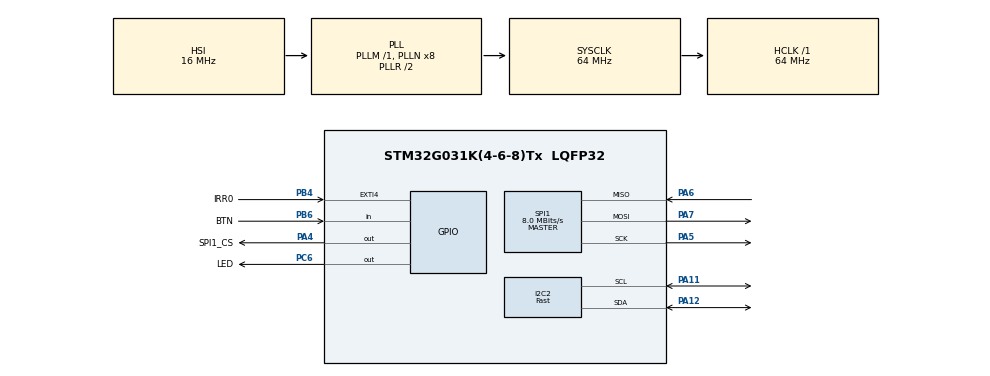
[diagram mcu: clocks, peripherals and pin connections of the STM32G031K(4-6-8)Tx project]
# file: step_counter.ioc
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Dma.I2C2_RX.1.Direction=DMA_PERIPH_TO_MEMORY
Dma.I2C2_RX.1.EventEnable=DISABLE
Dma.I2C2_RX.1.Instance=DMA1_Channel5
Dma.I2C2_RX.1.MemDataAlignment=DMA_MDATAALIGN_BYTE
Dma.I2C2_RX.1.MemInc=DMA_MINC_ENABLE
Dma.I2C2_RX.1.Mode=DMA_NORMAL
Dma.I2C2_RX.1.PeriphDataAlignment=DMA_PDATAALIGN_BYTE
Dma.I2C2_RX.1.PeriphInc=DMA_PINC_DISABLE
Dma.I2C2_RX.1.Polarity=HAL_DMAMUX_REQ_GEN_RISING
Dma.I2C2_RX.1.Priority=DMA_PRIORITY_LOW
Dma.I2C2_RX.1.RequestNumber=1
Dma.I2C2_RX.1.SignalID=NONE
Dma.I2C2_RX.1.SyncEnable=DISABLE
Dma.I2C2_RX.1.SyncPolarity=HAL_DMAMUX_SYNC_NO_EVENT
Dma.I2C2_RX.1.SyncRequestNumber=1
Dma.I2C2_RX.1.SyncSignalID=NONE
Dma.Request0=SPI1_TX
Dma.Request1=I2C2_RX
Dma.SPI1_TX.0.Direction=DMA_MEMORY_TO_PERIPH
Dma.SPI1_TX.0.EventEnable=DISABLE
Dma.SPI1_TX.0.Instance=DMA1_Channel1
Dma.SPI1_TX.0.MemDataAlignment=DMA_MDATAALIGN_BYTE
Dma.SPI1_TX.0.MemInc=DMA_MINC_ENABLE
Dma.SPI1_TX.0.Mode=DMA_NORMAL
Dma.SPI1_TX.0.PeriphDataAlignment=DMA_PDATAALIGN_BYTE
Dma.SPI1_TX.0.PeriphInc=DMA_PINC_DISABLE
Dma.SPI1_TX.0.Polarity=HAL_DMAMUX_REQ_GEN_RISING
Dma.SPI1_TX.0.Priority=DMA_PRIORITY_LOW
Dma.SPI1_TX.0.RequestNumber=1
Dma.SPI1_TX.0.SignalID=NONE
Dma.SPI1_TX.0.SyncEnable=DISABLE
Dma.SPI1_TX.0.SyncPolarity=HAL_DMAMUX_SYNC_NO_EVENT
Dma.SPI1_TX.0.SyncRequestNumber=1
Dma.SPI1_TX.0.SyncSignalID=NONE
FATFS._MAX_SS=512
FATFS._USE_LFN=1
FATFS._USE_TRIM=1
I2C2.I2C_Speed_Mode=I2C_Fast
I2C2.Timing=0x00602173
Mcu.Family=STM32G0
Mcu.Name=STM32G031K(4-6-8)Tx
Mcu.Package=LQFP32
NVIC.DMA1_Ch4_5_DMAMUX1_OVR_IRQn=true\:0\:0\:false\:false\:true\:false\:true\:true
NVIC.DMA1_Channel1_IRQn=true\:0\:0\:false\:false\:true\:false\:true\:true
NVIC.EXTI4_15_IRQn=true\:2\:0\:true\:false\:true\:true\:true\:true
NVIC.TIM14_IRQn=true\:0\:0\:false\:false\:true\:true\:true\:true
PA11\ [PA9].Mode=I2C
PA11\ [PA9].Signal=I2C2_SCL
PA12\ [PA10].Mode=I2C
PA12\ [PA10].Signal=I2C2_SDA
PA4.GPIO_Label=SPI1_CS
PA4.Signal=GPIO_Output
PA5.Mode=Full_Duplex_Master
PA5.Signal=SPI1_SCK
PA6.Mode=Full_Duplex_Master
PA6.Signal=SPI1_MISO
PA7.Mode=Full_Duplex_Master
PA7.Signal=SPI1_MOSI
PB4.GPIO_Label=IRR0
PB4.GPIO_PuPd=GPIO_PULLDOWN
PB4.Signal=GPXTI4
PB6.GPIO_Label=BTN
PB6.GPIO_PuPd=GPIO_PULLUP
PB6.Signal=GPIO_Input
PB8.Signal=I2C1_SCL
PB9.Signal=I2C1_SDA
PC6.GPIO_Label=LED
PC6.Signal=GPIO_Output
ProjectManager.HeapSize=0x200
ProjectManager.StackSize=0x400
ProjectManager.TargetToolchain=STM32CubeIDE
RCC.ADCFreq_Value=64000000
RCC.AHBFreq_Value=64000000
RCC.CortexFreq_Value=64000000
RCC.EXTERNAL_CLOCK_VALUE=12288000
RCC.HCLKFreq_Value=64000000
RCC.HSE_VALUE=8000000
RCC.HSI_VALUE=16000000
RCC.LSE_VALUE=32768
RCC.SYSCLKFreq_VALUE=64000000
RCC.SYSCLKSource=RCC_SYSCLKSOURCE_PLLCLK
RCC.VCOOutputFreq_Value=128000000
SPI1.BaudRatePrescaler=SPI_BAUDRATEPRESCALER_8
SPI1.CalculateBaudRate=8.0 MBits/s
SPI1.Direction=SPI_DIRECTION_2LINES
SPI1.Mode=SPI_MODE_MASTER
SPI1.VirtualType=VM_MASTER
TIM14.Period=3999
TIM14.Prescaler=63
VP_FATFS_VS_Generic.Mode=User_defined
VP_TIM14_VS_ClockSourceINT.Mode=Enable_Timer
board=custom

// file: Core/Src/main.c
/* USER CODE BEGIN Header */
/**
 ******************************************************************************
 * @file           : main.c
 * @brief          : Main program body
 ******************************************************************************
 * @attention
 *
 * Copyright (c) 2023 STMicroelectronics.
 * All rights reserved.
 *
 * This software is licensed under terms that can be found in the LICENSE file
 * in the root directory of this software component.
 * If no LICENSE file comes with this software, it is provided AS-IS.
 *
 ******************************************************************************
 */
/* USER CODE END Header */
#include "main.h"
#include "app_fatfs.h"

/* USER CODE BEGIN Includes */
#include <stdio.h>
#include <stdbool.h>
#include "fatfs_sd.h"
uint16_t address = 0;
FATFS fs;
FRESULT fresult;
UINT br, bw;  // File read/write count
/**** capacity related *****/
FATFS *pfs;
DWORD fre_clust;
uint32_t total, free_space;

#define MAX_FILENAME_LENGTH 20

#define RD_LEN  (8 * 14 * 2 *2)
uint8_t Rec_Data[RD_LEN];  // 512/64 = 8 -> 8*14*2 (half transfer)
volatile uint16_t Rec_Data_Ri = 0;
volatile uint16_t Rec_Data_Ti = 0;

char buffer[512 + 1] = { };  //+1 because of null string termination
uint16_t buffer_i = 0;

volatile uint32_t size = 0;

struct {
	int16_t x;
	int16_t y;
	int16_t z;
} acc;

int16_t temp;
double temp_d;

struct {
	int16_t x;
	int16_t y;
	int16_t z;
} gyro;
/* USER CODE END Includes */

I2C_HandleTypeDef hi2c2;
DMA_HandleTypeDef hdma_i2c2_rx;

SPI_HandleTypeDef hspi1;
DMA_HandleTypeDef hdma_spi1_tx;

TIM_HandleTypeDef htim14;

/* USER CODE BEGIN PV */
I2C_HandleTypeDef * const imu_i2c = &hi2c2;
/* USER CODE END PV */

void SystemClock_Config(void);
static void MX_GPIO_Init(void);
static void MX_DMA_Init(void);
static void MX_SPI1_Init(void);
static void MX_I2C2_Init(void);
static void MX_TIM14_Init(void);

int main(void)
{

  /* MCU Configuration--------------------------------------------------------*/

  /* Reset of all peripherals, Initializes the Flash interface and the Systick. */
  HAL_Init();

  /* Configure the system clock */
  SystemClock_Config();

  /* Initialize all configured peripherals */
  MX_GPIO_Init();
  MX_DMA_Init();
  MX_SPI1_Init();
  if (MX_FATFS_Init() != APP_OK) {
    Error_Handler();
  }
  MX_I2C2_Init();
  MX_TIM14_Init();
  /* USER CODE BEGIN 2 */

	//FATFS
	fresult = f_mount(&fs, "/", 1);
	if (fresult != FR_OK)
		Error_Handler();

	FIL fil;
	/*************** Card capacity details ********************/

	/* Check free space */
	f_getfree("", &fre_clust, &pfs);
	total = (uint32_t) ((pfs->n_fatent - 2) * pfs->csize * 0.5);
	free_space = (uint32_t) (fre_clust * pfs->csize * 0.5);

	char filename[MAX_FILENAME_LENGTH];
	uint16_t file_count = 0;
	FILINFO finfo;
	do {
		sprintf(filename, "/OUT%03d.TXT", file_count);
	} while (f_stat(filename, &finfo) == FR_OK && ++file_count < 1000);

	if (f_open(&fil, filename, FA_OPEN_ALWAYS | FA_WRITE) != FR_OK)
		Error_Handler();

	f_puts("step counter v1.0\n", &fil);
	if (f_close(&fil) != FR_OK)
		Error_Handler();

	if (f_open(&fil, filename, FA_OPEN_APPEND | FA_WRITE) != FR_OK)
		Error_Handler();

	//scan i2c
	while (address == 0) {
		for (uint16_t i = 1; i < 128; i++) {
			if (HAL_I2C_IsDeviceReady(imu_i2c, (uint16_t) (i << 1), 3, 10)
					== HAL_OK)
				address = i << 1;
		}
	}

	uint8_t data;
	HAL_I2C_Mem_Read(imu_i2c, address, 0x75, 1, &data, 1, 10);  //who-I-am check
	if (data != 0x68 && data != 0x72)
		Error_Handler();

	data = 0x7;
	HAL_I2C_Mem_Write(imu_i2c, address, 0x68, 1, &data, 1, 10);  //reset

	HAL_Delay(100);

	data = 0;
	HAL_I2C_Mem_Write(imu_i2c, address, 0x6b, 1, &data, 1, 10);  //pow conf
	HAL_I2C_Mem_Write(imu_i2c, address, 0x1b, 1, &data, 1, 10);  //gyr conf
	HAL_I2C_Mem_Write(imu_i2c, address, 0x1c, 1, &data, 1, 10);  //acc conf
	data = 8 - 1;  //data rate 8kHz prescaller; could be adjusted 32-1 (250 Hz) usually works without errors
	HAL_I2C_Mem_Write(imu_i2c, address, 0x19, 1, &data, 1, 10);  //data rate

	data = 1 << 4;
	HAL_I2C_Mem_Write(imu_i2c, address, 0x37, 1, &data, 1, 10); //irr clear when read
	data = 1 << 0;
	HAL_I2C_Mem_Write(imu_i2c, address, 0x38, 1, &data, 1, 10);  //irr enable

	HAL_Delay(10);
	HAL_TIM_Base_Start_IT(&htim14);

  /* USER CODE END 2 */

  /* Infinite loop */
  /* USER CODE BEGIN WHILE */
	bool in_holdoff = false;
	uint32_t cumulative = 0, steps = 0, steps_save_tick = 0;

	//size = 20 * 16 * 1024 / 64;  //1MB
	size = 1024 * free_space / 64;
	while (size) {
    /* USER CODE END WHILE */

    /* USER CODE BEGIN 3 */

		if (HAL_GPIO_ReadPin(BTN_GPIO_Port, BTN_Pin) == 0)
			break;

		HAL_GPIO_TogglePin(LED_GPIO_Port, LED_Pin);

		if (Rec_Data_Ri != Rec_Data_Ti) {
			--size;
			acc.x = (int16_t)(Rec_Data[Rec_Data_Ti+0]<<8 | Rec_Data[Rec_Data_Ti+1]);
			acc.y = (int16_t)(Rec_Data[Rec_Data_Ti+2]<<8 | Rec_Data[Rec_Data_Ti+3]);
			acc.z = (int16_t)(Rec_Data[Rec_Data_Ti+4]<<8 | Rec_Data[Rec_Data_Ti+5]);

			temp = (int16_t)(Rec_Data[Rec_Data_Ti+6]<<8 | Rec_Data[Rec_Data_Ti+7]);
			temp_d = temp/340 + 36.53;

			gyro.x = (int16_t)(Rec_Data[Rec_Data_Ti+8]<<8 | Rec_Data[Rec_Data_Ti+9]);
			gyro.y = (int16_t)(Rec_Data[Rec_Data_Ti+10]<<8 | Rec_Data[Rec_Data_Ti+11]);
			gyro.z = (int16_t)(Rec_Data[Rec_Data_Ti+12]<<8 | Rec_Data[Rec_Data_Ti+13]);

			Rec_Data_Ti += 14;
			if (Rec_Data_Ti == (RD_LEN)){
				Rec_Data_Ti = 0;
			}

			int16_t speed = gyro.z;
			const int16_t threshold = -4000;

			if (speed < threshold && !in_holdoff)
			{
				cumulative += -(speed - threshold);
				/* calculate the "area under a curve" when the speed goes below threshold
				 * these values are anecdotal and come from data visualization
				 * looking at the area allows us to detect prolonged slow steps as well as
				 * fast-paced running steps */
				if (cumulative > 20*5000)
				{
					steps += 1;
					cumulative = 0;
					in_holdoff = true;
				}
			}
			else if (in_holdoff && speed > 0)
			{
				cumulative += speed;
				if (cumulative > 50*3000)
				{
					cumulative = 0;
					in_holdoff = false;
				}
			}

			buffer_i += sprintf(&(buffer[buffer_i]),"%08x,%08x,%08x;%08.4f;%08x,%08x,%08x\r\n", acc.x,acc.y,acc.z,temp_d,gyro.x,gyro.y,gyro.z);
			if(buffer_i & 0x3f) Error_Handler();//not proper length
			if(buffer_i == 512){
				f_puts(buffer, &fil);
				buffer_i = 0;
			}
		}

		if (HAL_GetTick() - steps_save_tick >= 1000)
		{
			steps_save_tick = HAL_GetTick();
			char steps_buffer[32] = {0};
			sprintf(steps_buffer, "%lu=%lu\r\n", HAL_GetTick(), steps);
			f_puts(steps_buffer, &fil);
		}

	}
	if(buffer_i){//SEND THE REST
		buffer[buffer_i]=0;
		f_puts(buffer, &fil);
		buffer_i = 0;
	}
	if (f_close(&fil) != FR_OK)
		Error_Handler();
	while(1)
	{
		HAL_GPIO_TogglePin(LED_GPIO_Port, LED_Pin);
		HAL_Delay(1000);
	}
  /* USER CODE END 3 */
}

void SystemClock_Config(void)
{
  RCC_OscInitTypeDef RCC_OscInitStruct = {0};
  RCC_ClkInitTypeDef RCC_ClkInitStruct = {0};

  /** Configure the main internal regulator output voltage
  */
  HAL_PWREx_ControlVoltageScaling(PWR_REGULATOR_VOLTAGE_SCALE1);

  /** Initializes the RCC Oscillators according to the specified parameters
  * in the RCC_OscInitTypeDef structure.
  */
  RCC_OscInitStruct.OscillatorType = RCC_OSCILLATORTYPE_HSI;
  RCC_OscInitStruct.HSIState = RCC_HSI_ON;
  RCC_OscInitStruct.HSIDiv = RCC_HSI_DIV1;
  RCC_OscInitStruct.HSICalibrationValue = RCC_HSICALIBRATION_DEFAULT;
  RCC_OscInitStruct.PLL.PLLState = RCC_PLL_ON;
  RCC_OscInitStruct.PLL.PLLSource = RCC_PLLSOURCE_HSI;
  RCC_OscInitStruct.PLL.PLLM = RCC_PLLM_DIV1;
  RCC_OscInitStruct.PLL.PLLN = 8;
  RCC_OscInitStruct.PLL.PLLP = RCC_PLLP_DIV2;
  RCC_OscInitStruct.PLL.PLLQ = RCC_PLLQ_DIV2;
  RCC_OscInitStruct.PLL.PLLR = RCC_PLLR_DIV2;
  if (HAL_RCC_OscConfig(&RCC_OscInitStruct) != HAL_OK)
  {
    Error_Handler();
  }

  /** Initializes the CPU, AHB and APB buses clocks
  */
  RCC_ClkInitStruct.ClockType = RCC_CLOCKTYPE_HCLK|RCC_CLOCKTYPE_SYSCLK
                              |RCC_CLOCKTYPE_PCLK1;
  RCC_ClkInitStruct.SYSCLKSource = RCC_SYSCLKSOURCE_PLLCLK;
  RCC_ClkInitStruct.AHBCLKDivider = RCC_SYSCLK_DIV1;
  RCC_ClkInitStruct.APB1CLKDivider = RCC_HCLK_DIV1;

  if (HAL_RCC_ClockConfig(&RCC_ClkInitStruct, FLASH_LATENCY_2) != HAL_OK)
  {
    Error_Handler();
  }
}

static void MX_I2C2_Init(void)
{

  hi2c2.Instance = I2C2;
  hi2c2.Init.Timing = 0x00602173;
  hi2c2.Init.OwnAddress1 = 0;
  hi2c2.Init.AddressingMode = I2C_ADDRESSINGMODE_7BIT;
  hi2c2.Init.DualAddressMode = I2C_DUALADDRESS_DISABLE;
  hi2c2.Init.OwnAddress2 = 0;
  hi2c2.Init.OwnAddress2Masks = I2C_OA2_NOMASK;
  hi2c2.Init.GeneralCallMode = I2C_GENERALCALL_DISABLE;
  hi2c2.Init.NoStretchMode = I2C_NOSTRETCH_DISABLE;
  if (HAL_I2C_Init(&hi2c2) != HAL_OK)
  {
    Error_Handler();
  }

  /** Configure Analogue filter
  */
  if (HAL_I2CEx_ConfigAnalogFilter(&hi2c2, I2C_ANALOGFILTER_ENABLE) != HAL_OK)
  {
    Error_Handler();
  }

  /** Configure Digital filter
  */
  if (HAL_I2CEx_ConfigDigitalFilter(&hi2c2, 0) != HAL_OK)
  {
    Error_Handler();
  }

}

static void MX_SPI1_Init(void)
{

  /* SPI1 parameter configuration*/
  hspi1.Instance = SPI1;
  hspi1.Init.Mode = SPI_MODE_MASTER;
  hspi1.Init.Direction = SPI_DIRECTION_2LINES;
  hspi1.Init.DataSize = SPI_DATASIZE_8BIT;
  hspi1.Init.CLKPolarity = SPI_POLARITY_LOW;
  hspi1.Init.CLKPhase = SPI_PHASE_1EDGE;
  hspi1.Init.NSS = SPI_NSS_SOFT;
  hspi1.Init.BaudRatePrescaler = SPI_BAUDRATEPRESCALER_8;
  hspi1.Init.FirstBit = SPI_FIRSTBIT_MSB;
  hspi1.Init.TIMode = SPI_TIMODE_DISABLE;
  hspi1.Init.CRCCalculation = SPI_CRCCALCULATION_DISABLE;
  hspi1.Init.CRCPolynomial = 7;
  hspi1.Init.CRCLength = SPI_CRC_LENGTH_DATASIZE;
  hspi1.Init.NSSPMode = SPI_NSS_PULSE_ENABLE;
  if (HAL_SPI_Init(&hspi1) != HAL_OK)
  {
    Error_Handler();
  }

}

static void MX_TIM14_Init(void)
{

  htim14.Instance = TIM14;
  htim14.Init.Prescaler = 63;
  htim14.Init.CounterMode = TIM_COUNTERMODE_UP;
  htim14.Init.Period = 3999;
  htim14.Init.ClockDivision = TIM_CLOCKDIVISION_DIV1;
  htim14.Init.AutoReloadPreload = TIM_AUTORELOAD_PRELOAD_DISABLE;
  if (HAL_TIM_Base_Init(&htim14) != HAL_OK)
  {
    Error_Handler();
  }

}

static void MX_DMA_Init(void)
{

  /* DMA controller clock enable */
  __HAL_RCC_DMA1_CLK_ENABLE();

  /* DMA interrupt init */
  /* DMA1_Channel1_IRQn interrupt configuration */
  HAL_NVIC_SetPriority(DMA1_Channel1_IRQn, 0, 0);
  HAL_NVIC_EnableIRQ(DMA1_Channel1_IRQn);
  /* DMA1_Ch4_5_DMAMUX1_OVR_IRQn interrupt configuration */
  HAL_NVIC_SetPriority(DMA1_Ch4_5_DMAMUX1_OVR_IRQn, 0, 0);
  HAL_NVIC_EnableIRQ(DMA1_Ch4_5_DMAMUX1_OVR_IRQn);

}

static void MX_GPIO_Init(void)
{
  GPIO_InitTypeDef GPIO_InitStruct = {0};

  /* GPIO Ports Clock Enable */
  __HAL_RCC_GPIOB_CLK_ENABLE();
  __HAL_RCC_GPIOA_CLK_ENABLE();
  __HAL_RCC_GPIOC_CLK_ENABLE();

  /*Configure GPIO pin Output Level */
  HAL_GPIO_WritePin(SPI1_CS_GPIO_Port, SPI1_CS_Pin, GPIO_PIN_RESET);

  /*Configure GPIO pin Output Level */
  HAL_GPIO_WritePin(LED_GPIO_Port, LED_Pin, GPIO_PIN_RESET);

  /*Configure GPIO pins : PB9 PB8 */
  GPIO_InitStruct.Pin = GPIO_PIN_9|GPIO_PIN_8;
  GPIO_InitStruct.Mode = GPIO_MODE_AF_OD;
  GPIO_InitStruct.Pull = GPIO_NOPULL;
  GPIO_InitStruct.Speed = GPIO_SPEED_FREQ_LOW;
  GPIO_InitStruct.Alternate = GPIO_AF6_I2C1;
  HAL_GPIO_Init(GPIOB, &GPIO_InitStruct);

  /*Configure GPIO pin : SPI1_CS_Pin */
  GPIO_InitStruct.Pin = SPI1_CS_Pin;
  GPIO_InitStruct.Mode = GPIO_MODE_OUTPUT_PP;
  GPIO_InitStruct.Pull = GPIO_NOPULL;
  GPIO_InitStruct.Speed = GPIO_SPEED_FREQ_LOW;
  HAL_GPIO_Init(SPI1_CS_GPIO_Port, &GPIO_InitStruct);

  /*Configure GPIO pin : LED_Pin */
  GPIO_InitStruct.Pin = LED_Pin;
  GPIO_InitStruct.Mode = GPIO_MODE_OUTPUT_PP;
  GPIO_InitStruct.Pull = GPIO_NOPULL;
  GPIO_InitStruct.Speed = GPIO_SPEED_FREQ_LOW;
  HAL_GPIO_Init(LED_GPIO_Port, &GPIO_InitStruct);

  /*Configure GPIO pin : IRR0_Pin */
  GPIO_InitStruct.Pin = IRR0_Pin;
  GPIO_InitStruct.Mode = GPIO_MODE_IT_RISING;
  GPIO_InitStruct.Pull = GPIO_PULLDOWN;
  HAL_GPIO_Init(IRR0_GPIO_Port, &GPIO_InitStruct);

  /*Configure GPIO pin : BTN_Pin */
  GPIO_InitStruct.Pin = BTN_Pin;
  GPIO_InitStruct.Mode = GPIO_MODE_INPUT;
  GPIO_InitStruct.Pull = GPIO_PULLUP;
  HAL_GPIO_Init(BTN_GPIO_Port, &GPIO_InitStruct);

  /* EXTI interrupt init*/
  HAL_NVIC_SetPriority(EXTI4_15_IRQn, 2, 0);
  HAL_NVIC_EnableIRQ(EXTI4_15_IRQn);

}

/* USER CODE BEGIN 4 */
void HAL_I2C_MasterTxCpltCallback(I2C_HandleTypeDef *hi2c) {

}
/* USER CODE END 4 */

void Error_Handler(void)
{
  /* USER CODE BEGIN Error_Handler_Debug */
	/* User can add his own implementation to report the HAL error return state */
	HAL_NVIC_DisableIRQ(EXTI4_15_IRQn);
	while (1) {
		HAL_GPIO_TogglePin(LED_GPIO_Port, LED_Pin);
		HAL_Delay(100);
	}
  /* USER CODE END Error_Handler_Debug */
}
